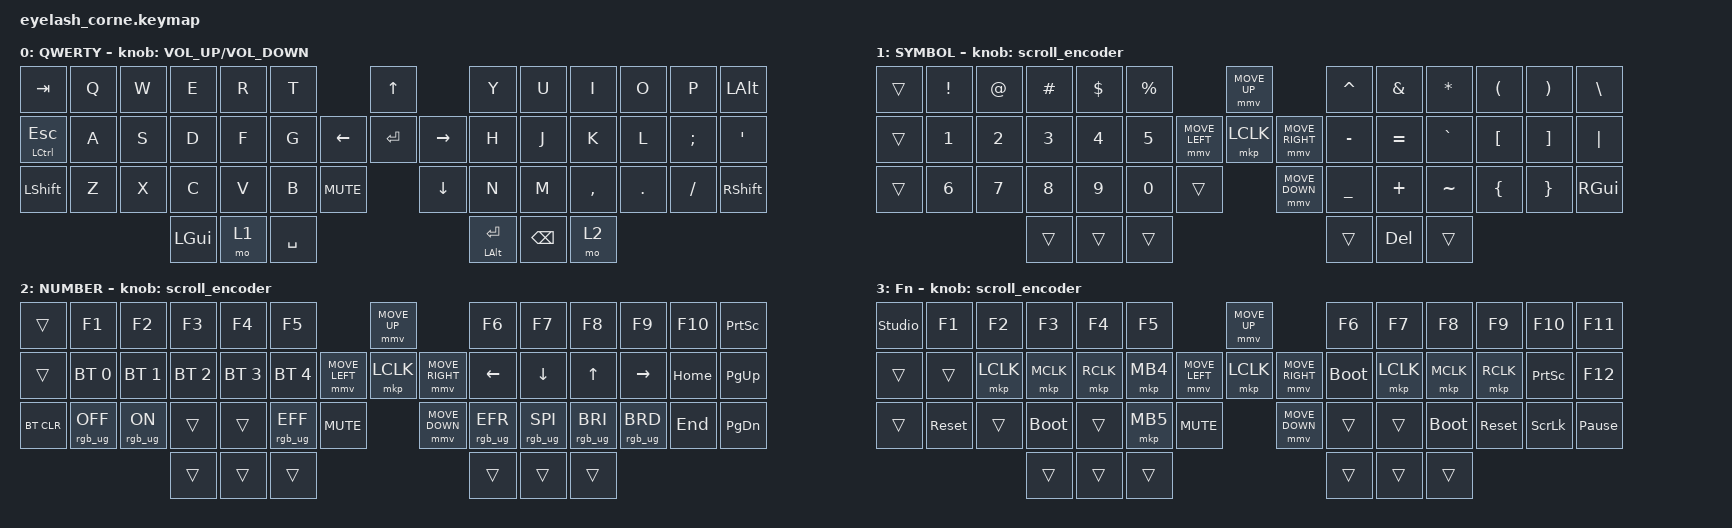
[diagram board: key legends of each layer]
#include <dt-bindings/zmk/mouse.h>
#include <input/processors.dtsi>
#include <behaviors.dtsi>
#include <dt-bindings/zmk/bt.h>
#include <dt-bindings/zmk/keys.h>
#include <dt-bindings/zmk/pointing.h>
#include <dt-bindings/zmk/rgb.h>

/*

   &mmv_input_listener {
       input-processors = <&zip_xy_scaler 2 1>;
   };

   &msc_input_listener {
       input-processors = <&zip_xy_scaler 2 1>;
   };

 */

#define ZMK_MOUSE_DEFAULT_MOVE_VAL 1200  // 600
#define ZMK_MOUSE_DEFAULT_SCRL_VAL 20    // 10

/ {
    behaviors {
        td0: td0 {
            compatible = "zmk,behavior-tap-dance";
            display-name = "Shift/Caps Lock Tap Dance";
            #binding-cells = <0>;
            bindings = <&kp LEFT_SHIFT>, <&kp CAPS>;
        };
    };

    rgb_encoder: rgb_encoder {
        compatible = "zmk,behavior-sensor-rotate";
        #sensor-binding-cells = <0>;
        bindings = <&rgb_ug RGB_BRI>, <&rgb_ug RGB_BRD>;
    };

    scroll_encoder: scroll_encoder {
        compatible = "zmk,behavior-sensor-rotate";
        #sensor-binding-cells = <0>;
        bindings = <&msc SCRL_DOWN>, <&msc SCRL_UP>;

        tap-ms = <30>;
    };

    keymap {
        compatible = "zmk,keymap";

        default_layer {
            display-name = "QWERTY";
            bindings = <
&kp TAB           &kp Q  &kp W  &kp E     &kp R  &kp T                              &kp UP                &kp Y               &kp U          &kp I      &kp O    &kp P     &kp LEFT_ALT
&mt LCTRL ESCAPE  &kp A  &kp S  &kp D     &kp F  &kp G                    &kp LEFT  &kp ENTER  &kp RIGHT  &kp H               &kp J          &kp K      &kp L    &kp SEMI  &kp SQT
&kp LEFT_SHIFT    &kp Z  &kp X  &kp C     &kp V  &kp B      &kp K_MUTE              &kp DOWN              &kp N               &kp M          &kp COMMA  &kp DOT  &kp FSLH  &kp RIGHT_SHIFT
                                &kp LGUI  &mo 1  &kp SPACE                                                &mt LEFT_ALT ENTER  &kp BACKSPACE  &mo 2
            >;

            sensor-bindings = <&inc_dec_kp C_VOLUME_UP C_VOLUME_DOWN>;
        };

        raise_layer {
            display-name = "SYMBOL";
            bindings = <
&trans  &kp EXCL      &kp AT        &kp HASH      &kp DLLR      &kp PRCNT                            &mmv MOVE_UP                     &kp CARET  &kp AMPS   &kp ASTRK  &kp LPAR          &kp RPAR           &kp BACKSLASH
&trans  &kp NUMBER_1  &kp NUMBER_2  &kp NUMBER_3  &kp NUMBER_4  &kp N5               &mmv MOVE_LEFT  &mkp LCLK       &mmv MOVE_RIGHT  &kp MINUS  &kp EQUAL  &kp GRAVE  &kp LEFT_BRACKET  &kp RIGHT_BRACKET  &kp PIPE
&trans  &kp NUMBER_6  &kp N7        &kp N8        &kp N9        &kp N0     &trans                    &mmv MOVE_DOWN                   &kp UNDER  &kp PLUS   &kp TILDE  &kp LBRC          &kp RBRC           &kp RIGHT_GUI
                                    &trans        &trans        &trans                                                                &trans     &kp DEL    &trans
            >;

            sensor-bindings = <&scroll_encoder>;
        };

        lower_layer {
            display-name = "NUMBER";
            bindings = <
&trans      &kp F1           &kp F2          &kp F3        &kp F4        &kp F5                                         &mmv MOVE_UP                     &kp F6           &kp F7           &kp F8           &kp F9           &kp F10   &kp PRINTSCREEN
&trans      &bt BT_SEL 0     &bt BT_SEL 1    &bt BT_SEL 2  &bt BT_SEL 3  &bt BT_SEL 4                   &mmv MOVE_LEFT  &mkp LCLK       &mmv MOVE_RIGHT  &kp LEFT         &kp DOWN         &kp UP           &kp RIGHT        &kp HOME  &kp PG_UP
&bt BT_CLR  &rgb_ug RGB_OFF  &rgb_ug RGB_ON  &trans        &trans        &rgb_ug RGB_EFF  &kp C_MUTE                    &mmv MOVE_DOWN                   &rgb_ug RGB_EFR  &rgb_ug RGB_SPI  &rgb_ug RGB_BRI  &rgb_ug RGB_BRD  &kp END   &kp PG_DN
                                             &trans        &trans        &trans                                                                          &trans           &trans           &trans
            >;

            sensor-bindings = <&scroll_encoder>;
        };

        layer_3 {
            display-name = "Fn";
            bindings = <
&studio_unlock  &kp F1      &kp F2     &kp F3       &kp F4     &kp F5                                  &mmv MOVE_UP                     &kp F6       &kp F7     &kp F8       &kp F9      &kp F10          &kp F11
&trans          &trans      &mkp LCLK  &mkp MCLK    &mkp RCLK  &mkp MB4                &mmv MOVE_LEFT  &mkp LCLK       &mmv MOVE_RIGHT  &bootloader  &mkp LCLK  &mkp MCLK    &mkp RCLK   &kp PRINTSCREEN  &kp F12
&trans          &sys_reset  &trans     &bootloader  &trans     &mkp MB5  &kp C_MUTE                    &mmv MOVE_DOWN                   &trans       &trans     &bootloader  &sys_reset  &kp SCROLLLOCK   &kp PAUSE_BREAK
                                       &trans       &trans     &trans                                                                   &trans       &trans     &trans
            >;

            sensor-bindings = <&scroll_encoder>;
        };
    };
};
